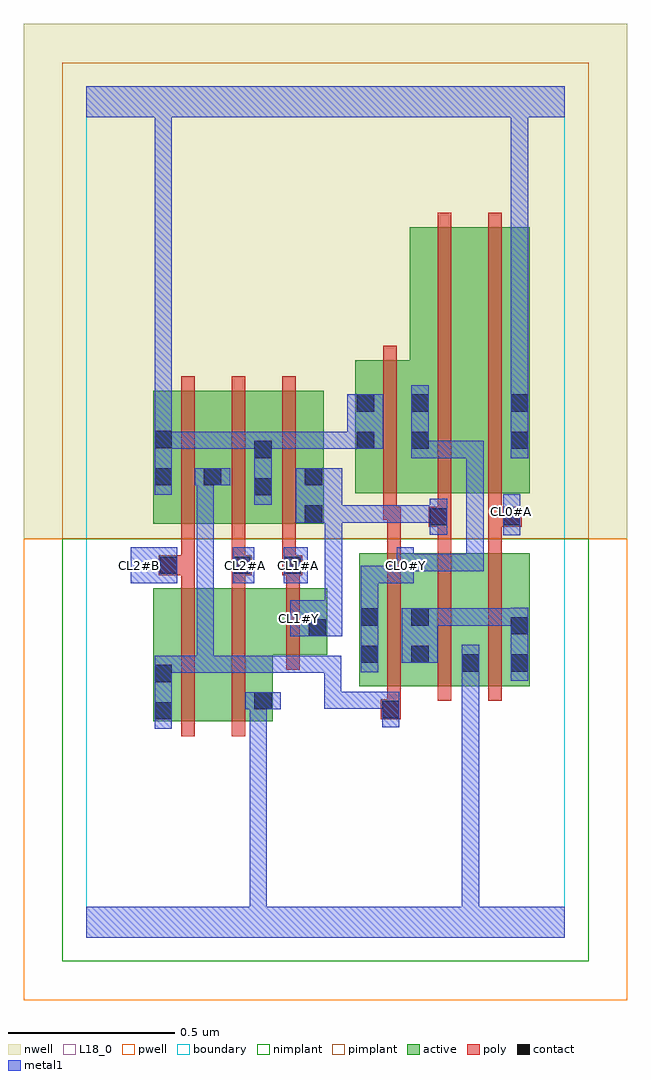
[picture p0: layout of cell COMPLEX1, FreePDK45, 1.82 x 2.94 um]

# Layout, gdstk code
import gdstk
lib = gdstk.Library(unit=1e-6, precision=1e-09)
def R(c, l, rs):  # rectangles x0, y0, x1, y1
    for r in rs: c.add(gdstk.rectangle(r[:2], r[2:], *l))
def A(c, l, x, y, w, h, nx, ny, dx, dy):  # array of equal rectangles
    R(c, l, [(x+i*dx, y+j*dy, x+i*dx+w, y+j*dy+h) for i in range(nx) for j in range(ny)])
active = (1, 0)
pwell = (2, 0)
nwell = (3, 0)
nimplant = (4, 0)
pimplant = (5, 0)
poly = (9, 0)
contact = (10, 0)
metal1 = (11, 0)
L18_0 = (18, 0)
boundary = (235, 0)

complex1 = lib.new_cell('COMPLEX1')
A(complex1, active, 0.822, 0.756, 0.06, 0.4, 3, 1, 0.152, 0)
R(complex1, active, [(0.202,0.65,0.262,1.05), (0.202,0.65,0.382,1.05), (0.382,0.65,0.562,1.05), (0.502,0.682,0.562,0.956), (0.822,0.756,1.034,1.156), (0.974,0.756,1.186,1.156), (1.126,0.756,1.334,1.156), (1.274,0.756,1.334,1.156), (0.502,0.85,0.726,1.05), (0.666,0.85,0.726,1.05), (0.202,1.244,0.262,1.644), (0.202,1.244,0.41,1.644), (0.35,1.244,0.562,1.644), (0.502,1.244,0.714,1.644), (0.654,1.244,0.714,1.644), (0.502,1.326,0.562,1.644), (0.81,1.336,0.87,1.736), (0.81,1.336,1.034,1.736), (0.974,1.336,1.154,2.136), (1.154,1.336,1.334,2.136), (1.274,1.336,1.334,2.044), (0.35,1.356,0.41,1.644), (0.974,1.402,1.034,2.136)])
R(complex1, pwell, [(-0.188,-0.188,1.628,1.2)])
R(complex1, nwell, [(-0.188,1.2,1.628,2.748)])
R(complex1, nimplant, [(-0.072,-0.072,1.512,1.2)])
R(complex1, pimplant, [(-0.072,1.2,1.512,2.632)])
A(complex1, poly, 0.906, 0.712, 0.04, 0.488, 3, 1, 0.152, 0)
A(complex1, poly, 0.286, 1.11, 0.04, 0.13, 3, 1, 0.152, 0)
A(complex1, poly, 0.286, 1.2, 0.04, 0.488, 3, 1, 0.152, 0)
R(complex1, poly, [(0.286,0.606,0.326,1.094), (0.438,0.606,0.478,1.094), (0.886,0.656,0.946,0.716), (0.906,0.676,0.946,0.752), (0.602,0.806,0.642,1.094), (0.286,1.054,0.326,1.13), (0.438,1.054,0.478,1.13), (0.602,1.054,0.642,1.13), (0.218,1.09,0.326,1.15), (0.286,1.09,0.326,1.13), (0.286,1.09,0.326,1.13), (0.438,1.09,0.478,1.13), (0.438,1.09,0.478,1.13), (0.438,1.09,0.498,1.15), (0.59,1.09,0.65,1.15), (0.602,1.09,0.642,1.13), (0.602,1.09,0.642,1.13), (0.906,1.16,0.946,1.296), (1.058,1.16,1.098,1.276), (1.21,1.16,1.25,1.276), (1.03,1.236,1.098,1.296), (1.058,1.236,1.098,1.276), (1.058,1.236,1.098,1.276), (1.21,1.236,1.25,1.276), (1.21,1.236,1.25,1.276), (1.21,1.236,1.31,1.296), (0.894,1.256,0.934,1.332), (0.894,1.256,0.946,1.296), (0.906,1.256,0.946,1.296), (0.906,1.256,0.946,1.296), (1.058,1.256,1.098,1.332), (1.21,1.256,1.25,1.332), (0.894,1.292,0.934,1.78), (1.058,1.292,1.098,2.18), (1.21,1.292,1.25,2.18)])
R(complex1, contact, [(0.206,0.656,0.258,0.708), (0.89,0.66,0.942,0.712), (0.506,0.686,0.558,0.738), (0.206,0.768,0.258,0.82), (1.13,0.8,1.182,0.852), (1.278,0.8,1.33,0.852), (0.826,0.826,0.878,0.878), (0.978,0.826,1.03,0.878), (0.67,0.906,0.722,0.958), (1.278,0.912,1.33,0.964), (0.826,0.938,0.878,0.99), (0.978,0.938,1.03,0.99), (0.222,1.094,0.274,1.146), (0.442,1.094,0.494,1.146), (0.594,1.094,0.646,1.146), (1.034,1.24,1.086,1.292), (1.254,1.24,1.306,1.292), (0.658,1.248,0.71,1.3), (0.506,1.33,0.558,1.382), (0.206,1.36,0.258,1.412), (0.354,1.36,0.406,1.412), (0.658,1.36,0.71,1.412), (0.506,1.442,0.558,1.494), (0.814,1.47,0.866,1.522), (0.978,1.47,1.03,1.522), (1.278,1.47,1.33,1.522), (0.206,1.472,0.258,1.524), (0.814,1.582,0.866,1.634), (0.978,1.582,1.03,1.634), (1.278,1.582,1.33,1.634)])
R(complex1, metal1, [(0,0,1.44,0.092), (0.492,0.04,0.544,0.092), (0.492,0.04,0.544,0.092), (0.492,0.04,0.544,0.67), (1.13,0.04,1.182,0.092), (1.13,0.04,1.182,0.092), (1.13,0.04,1.182,0.824), (0.492,0.618,0.544,0.67), (0.492,0.618,0.544,0.67), (0.492,0.618,0.544,0.67), (0.492,0.618,0.544,0.67), (0.492,0.618,0.544,0.67), (0.492,0.618,0.544,0.67), (0.492,0.618,0.544,0.67), (0.492,0.618,0.544,0.67), (0.492,0.618,0.544,0.67), (0.492,0.618,0.544,0.738), (0.206,0.628,0.258,0.848), (0.89,0.632,0.942,0.74), (0.478,0.686,0.586,0.738), (0.716,0.688,0.768,0.74), (0.716,0.688,0.776,0.74), (0.716,0.688,0.768,0.848), (0.724,0.688,0.776,0.74), (0.724,0.688,0.942,0.74), (1.13,0.772,1.182,0.824), (1.13,0.772,1.182,0.824), (1.13,0.772,1.182,0.824), (1.13,0.772,1.182,0.824), (1.13,0.772,1.182,0.824), (1.13,0.772,1.182,0.824), (1.13,0.772,1.182,0.824), (1.13,0.772,1.182,0.824), (1.13,0.772,1.182,0.824), (1.13,0.772,1.182,0.824), (1.13,0.772,1.182,0.88), (1.278,0.772,1.33,0.992), (0.206,0.796,0.258,0.848), (0.206,0.796,0.258,0.848), (0.206,0.796,0.384,0.848), (0.332,0.796,0.384,0.848), (0.332,0.796,0.384,0.848), (0.332,0.796,0.384,0.848), (0.332,0.796,0.384,0.848), (0.332,0.796,0.384,0.848), (0.332,0.796,0.556,0.848), (0.332,0.796,0.384,1.412), (0.504,0.796,0.556,0.848), (0.504,0.796,0.556,0.848), (0.504,0.796,0.556,0.848), (0.504,0.796,0.556,0.848), (0.504,0.796,0.556,0.848), (0.504,0.796,0.768,0.848), (0.716,0.796,0.768,0.848), (0.716,0.796,0.768,0.848), (0.716,0.796,0.768,0.848), (0.716,0.796,0.768,0.848), (0.716,0.796,0.768,0.848), (0.826,0.798,0.878,1.018), (0.95,0.826,1.058,0.99), (0.614,0.906,0.77,1.014), (0.642,0.906,0.75,0.958), (0.698,0.906,0.75,0.958), (1.006,0.938,1.058,0.99), (1.006,0.938,1.058,0.99), (1.006,0.938,1.182,0.99), (1.13,0.938,1.182,0.99), (1.13,0.938,1.33,0.99), (1.278,0.938,1.33,0.99), (1.278,0.938,1.33,0.99), (0.718,0.962,0.77,1.3), (0.826,0.966,0.878,1.118), (0.134,1.066,0.274,1.174), (0.442,1.066,0.506,1.174), (0.594,1.066,0.666,1.174), (0.826,1.066,0.878,1.118), (0.826,1.066,0.92,1.118), (0.868,1.066,0.92,1.118), (0.868,1.066,0.986,1.118), (0.934,1.066,0.986,1.174), (0.934,1.102,1.196,1.154), (1.144,1.102,1.196,1.154), (1.144,1.102,1.196,1.154), (1.144,1.102,1.196,1.154), (1.144,1.102,1.196,1.494), (1.254,1.21,1.306,1.334), (1.034,1.212,1.086,1.32), (0.63,1.248,0.77,1.412), (0.718,1.248,0.77,1.3), (0.718,1.248,0.77,1.3), (0.718,1.248,0.776,1.3), (0.724,1.248,0.776,1.3), (0.724,1.248,0.92,1.3), (0.868,1.248,0.92,1.3), (0.868,1.248,1.072,1.3), (1.02,1.248,1.072,1.3), (1.02,1.248,1.086,1.3), (0.506,1.302,0.558,1.522), (0.206,1.332,0.258,1.552), (0.326,1.36,0.434,1.412), (0.332,1.36,0.384,1.412), (0.332,1.36,0.384,1.412), (0.978,1.442,1.03,1.494), (0.978,1.442,1.03,1.494), (0.978,1.442,1.03,1.662), (0.978,1.442,1.196,1.494), (1.144,1.442,1.196,1.494), (1.144,1.442,1.196,1.494), (1.144,1.442,1.196,1.494), (1.278,1.442,1.33,1.662), (0.206,1.47,0.258,1.522), (0.206,1.47,0.258,1.522), (0.206,1.47,0.384,1.522), (0.332,1.47,0.384,1.522), (0.332,1.47,0.384,1.522), (0.332,1.47,0.384,1.522), (0.332,1.47,0.558,1.522), (0.506,1.47,0.558,1.522), (0.506,1.47,0.558,1.522), (0.506,1.47,0.668,1.522), (0.616,1.47,0.668,1.522), (0.616,1.47,0.838,1.522), (0.786,1.47,0.894,1.634), (0.206,1.5,0.258,1.552), (0.206,1.5,0.258,1.552), (0.206,1.5,0.258,1.552), (0.206,1.5,0.258,1.552), (0.206,1.5,0.258,1.552), (0.206,1.5,0.258,1.552), (0.206,1.5,0.258,1.552), (0.206,1.5,0.258,1.552), (0.206,1.5,0.258,1.552), (0.206,1.5,0.258,1.552), (0.206,1.5,0.258,2.52), (1.278,1.61,1.33,1.662), (1.278,1.61,1.33,1.662), (1.278,1.61,1.33,2.52), (0,2.468,1.44,2.56), (0.206,2.468,0.258,2.52), (0.206,2.468,0.258,2.52), (0.206,2.468,0.258,2.52), (0.206,2.468,0.258,2.52), (0.206,2.468,0.258,2.52), (0.206,2.468,0.258,2.52), (1.278,2.468,1.33,2.52), (1.278,2.468,1.33,2.52), (1.278,2.468,1.33,2.52), (1.278,2.468,1.33,2.52), (1.278,2.468,1.33,2.52), (1.278,2.468,1.33,2.52)])
R(complex1, L18_0, [(0,0,1.44,0.092), (0.492,0.04,0.544,0.092), (0.492,0.04,0.544,0.092), (0.492,0.04,0.544,0.67), (1.13,0.04,1.182,0.092), (1.13,0.04,1.182,0.092), (1.13,0.04,1.182,0.824), (0.492,0.618,0.544,0.67), (0.492,0.618,0.544,0.67), (0.492,0.618,0.544,0.67), (0.492,0.618,0.544,0.67), (0.492,0.618,0.544,0.67), (0.492,0.618,0.544,0.67), (0.492,0.618,0.544,0.67), (0.492,0.618,0.544,0.67), (0.492,0.618,0.544,0.67), (0.492,0.618,0.544,0.738), (0.478,0.686,0.586,0.738), (1.13,0.772,1.182,0.824), (1.13,0.772,1.182,0.824), (1.13,0.772,1.182,0.824), (1.13,0.772,1.182,0.824), (1.13,0.772,1.182,0.824), (1.13,0.772,1.182,0.824), (1.13,0.772,1.182,0.824), (1.13,0.772,1.182,0.824), (1.13,0.772,1.182,0.824), (1.13,0.772,1.182,0.824), (1.13,0.772,1.182,0.88), (0.826,0.798,0.878,1.018), (0.614,0.906,0.77,1.014), (0.642,0.906,0.75,0.958), (0.698,0.906,0.75,0.958), (0.614,0.934,0.666,0.986), (0.718,0.962,0.77,1.3), (0.826,0.966,0.878,1.118), (0.134,1.066,0.274,1.174), (0.442,1.066,0.506,1.174), (0.594,1.066,0.666,1.174), (0.826,1.066,0.878,1.118), (0.826,1.066,0.92,1.118), (0.868,1.066,0.92,1.118), (0.868,1.066,0.986,1.118), (0.934,1.066,0.986,1.174), (0.134,1.094,0.186,1.146), (0.454,1.094,0.506,1.146), (0.614,1.094,0.666,1.146), (0.934,1.094,0.986,1.146), (0.934,1.102,1.196,1.154), (1.144,1.102,1.196,1.154), (1.144,1.102,1.196,1.154), (1.144,1.102,1.196,1.154), (1.144,1.102,1.196,1.494), (1.254,1.21,1.306,1.334), (1.034,1.212,1.086,1.32), (0.63,1.248,0.77,1.412), (0.718,1.248,0.77,1.3), (0.718,1.248,0.77,1.3), (0.718,1.248,0.776,1.3), (0.724,1.248,0.776,1.3), (0.724,1.248,0.92,1.3), (0.868,1.248,0.92,1.3), (0.868,1.248,1.072,1.3), (1.02,1.248,1.072,1.3), (1.02,1.248,1.086,1.3), (1.254,1.254,1.306,1.306), (0.506,1.302,0.558,1.522), (0.206,1.332,0.258,1.552), (0.978,1.442,1.03,1.662), (0.978,1.442,1.03,1.494), (0.978,1.442,1.03,1.494), (0.978,1.442,1.196,1.494), (1.144,1.442,1.196,1.494), (1.144,1.442,1.196,1.494), (1.144,1.442,1.196,1.494), (1.278,1.442,1.33,1.662), (0.206,1.47,0.258,1.522), (0.206,1.47,0.258,1.522), (0.206,1.47,0.384,1.522), (0.332,1.47,0.384,1.522), (0.332,1.47,0.384,1.522), (0.332,1.47,0.384,1.522), (0.332,1.47,0.558,1.522), (0.506,1.47,0.558,1.522), (0.506,1.47,0.558,1.522), (0.506,1.47,0.668,1.522), (0.616,1.47,0.668,1.522), (0.616,1.47,0.838,1.522), (0.786,1.47,0.894,1.634), (0.206,1.5,0.258,1.552), (0.206,1.5,0.258,1.552), (0.206,1.5,0.258,1.552), (0.206,1.5,0.258,1.552), (0.206,1.5,0.258,1.552), (0.206,1.5,0.258,1.552), (0.206,1.5,0.258,1.552), (0.206,1.5,0.258,1.552), (0.206,1.5,0.258,1.552), (0.206,1.5,0.258,1.552), (0.206,1.5,0.258,2.52), (1.278,1.61,1.33,1.662), (1.278,1.61,1.33,1.662), (1.278,1.61,1.33,2.52), (0,2.468,1.44,2.56), (0.206,2.468,0.258,2.52), (0.206,2.468,0.258,2.52), (0.206,2.468,0.258,2.52), (0.206,2.468,0.258,2.52), (0.206,2.468,0.258,2.52), (0.206,2.468,0.258,2.52), (1.278,2.468,1.33,2.52), (1.278,2.468,1.33,2.52), (1.278,2.468,1.33,2.52), (1.278,2.468,1.33,2.52), (1.278,2.468,1.33,2.52), (1.278,2.468,1.33,2.52)])
R(complex1, boundary, [(0,0,1.44,2.56)])
complex1.add(gdstk.Label('CL0#A', (1.28,1.28), layer=11, texttype=0))
complex1.add(gdstk.Label('CL0#Y', (0.96,1.12), layer=11, texttype=0))
complex1.add(gdstk.Label('CL1#A', (0.64,1.12), layer=11, texttype=0))
complex1.add(gdstk.Label('CL1#Y', (0.64,0.96), layer=11, texttype=0))
complex1.add(gdstk.Label('CL2#A', (0.48,1.12), layer=11, texttype=0))
complex1.add(gdstk.Label('CL2#B', (0.16,1.12), layer=11, texttype=0))

lib.write_gds('COMPLEX1.gds')
